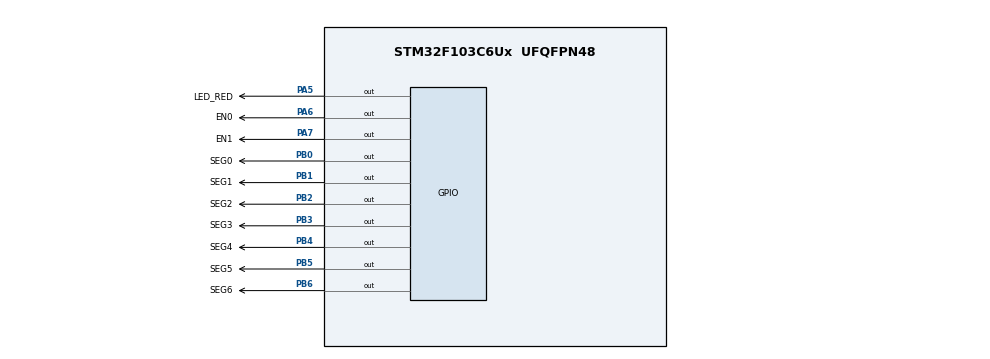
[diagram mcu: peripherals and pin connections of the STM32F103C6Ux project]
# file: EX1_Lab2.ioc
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Mcu.Family=STM32F1
Mcu.Name=STM32F103C6Ux
Mcu.Package=UFQFPN48
NVIC.PriorityGroup=NVIC_PRIORITYGROUP_4
NVIC.TIM2_IRQn=true\:0\:0\:false\:false\:true\:true\:true
PA5.GPIO_Label=LED_RED
PA5.Signal=GPIO_Output
PA6.GPIO_Label=EN0
PA6.Signal=GPIO_Output
PA7.GPIO_Label=EN1
PA7.Signal=GPIO_Output
PB0.GPIO_Label=SEG0
PB0.Signal=GPIO_Output
PB1.GPIO_Label=SEG1
PB1.Signal=GPIO_Output
PB2.GPIO_Label=SEG2
PB2.Signal=GPIO_Output
PB3.GPIO_Label=SEG3
PB3.Signal=GPIO_Output
PB4.GPIO_Label=SEG4
PB4.Signal=GPIO_Output
PB5.GPIO_Label=SEG5
PB5.Signal=GPIO_Output
PB6.GPIO_Label=SEG6
PB6.Signal=GPIO_Output
ProjectManager.HeapSize=0x200
ProjectManager.StackSize=0x400
ProjectManager.TargetToolchain=STM32CubeIDE
RCC.APB1Freq_Value=8000000
RCC.APB2Freq_Value=8000000
TIM2.Period=9
TIM2.Prescaler=7999
VP_SYS_VS_ND.Mode=No_Debug
VP_TIM2_VS_ClockSourceINT.Mode=Internal
board=custom

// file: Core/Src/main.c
/* USER CODE BEGIN Header */
/**
  ******************************************************************************
  * @file           : main.c
  * @brief          : Main program body
  ******************************************************************************
  * @attention
  *
  * <h2><center>&copy; Copyright (c) 2026 STMicroelectronics.
  * All rights reserved.</center></h2>
  *
  * This software component is licensed by ST under BSD 3-Clause license,
  * the "License"; You may not use this file except in compliance with the
  * License. You may obtain a copy of the License at:
  *                        opensource.org/licenses/BSD-3-Clause
  *
  ******************************************************************************
  */
/* USER CODE END Header */
#include "main.h"

TIM_HandleTypeDef htim2;

void SystemClock_Config(void);
static void MX_TIM2_Init(void);
static void MX_GPIO_Init(void);

/* USER CODE BEGIN 0 */
int led_counter = 50;
int led_status = 1;
/* USER CODE END 0 */

int main(void)
{

  /* MCU Configuration--------------------------------------------------------*/

  /* Reset of all peripherals, Initializes the Flash interface and the Systick. */
  HAL_Init();

  /* Configure the system clock */
  SystemClock_Config();

  /* Initialize all configured peripherals */
  MX_TIM2_Init();
  MX_GPIO_Init();
  /* USER CODE BEGIN 2 */
  HAL_TIM_Base_Start_IT(&htim2);
  /* USER CODE END 2 */

  /* Infinite loop */
  while (1)
  {

  }
}

void SystemClock_Config(void)
{
  RCC_OscInitTypeDef RCC_OscInitStruct = {0};
  RCC_ClkInitTypeDef RCC_ClkInitStruct = {0};

  /** Initializes the RCC Oscillators according to the specified parameters
  * in the RCC_OscInitTypeDef structure.
  */
  RCC_OscInitStruct.OscillatorType = RCC_OSCILLATORTYPE_HSI;
  RCC_OscInitStruct.HSIState = RCC_HSI_ON;
  RCC_OscInitStruct.HSICalibrationValue = RCC_HSICALIBRATION_DEFAULT;
  RCC_OscInitStruct.PLL.PLLState = RCC_PLL_NONE;
  if (HAL_RCC_OscConfig(&RCC_OscInitStruct) != HAL_OK)
  {
    Error_Handler();
  }
  /** Initializes the CPU, AHB and APB buses clocks
  */
  RCC_ClkInitStruct.ClockType = RCC_CLOCKTYPE_HCLK|RCC_CLOCKTYPE_SYSCLK
                              |RCC_CLOCKTYPE_PCLK1|RCC_CLOCKTYPE_PCLK2;
  RCC_ClkInitStruct.SYSCLKSource = RCC_SYSCLKSOURCE_HSI;
  RCC_ClkInitStruct.AHBCLKDivider = RCC_SYSCLK_DIV1;
  RCC_ClkInitStruct.APB1CLKDivider = RCC_HCLK_DIV1;
  RCC_ClkInitStruct.APB2CLKDivider = RCC_HCLK_DIV1;

  if (HAL_RCC_ClockConfig(&RCC_ClkInitStruct, FLASH_LATENCY_0) != HAL_OK)
  {
    Error_Handler();
  }
}

static void MX_TIM2_Init(void)
{

  TIM_ClockConfigTypeDef sClockSourceConfig = {0};
  TIM_MasterConfigTypeDef sMasterConfig = {0};

  htim2.Instance = TIM2;
  htim2.Init.Prescaler = 7999;
  htim2.Init.CounterMode = TIM_COUNTERMODE_UP;
  htim2.Init.Period = 9;
  htim2.Init.ClockDivision = TIM_CLOCKDIVISION_DIV1;
  htim2.Init.AutoReloadPreload = TIM_AUTORELOAD_PRELOAD_DISABLE;
  if (HAL_TIM_Base_Init(&htim2) != HAL_OK)
  {
    Error_Handler();
  }
  sClockSourceConfig.ClockSource = TIM_CLOCKSOURCE_INTERNAL;
  if (HAL_TIM_ConfigClockSource(&htim2, &sClockSourceConfig) != HAL_OK)
  {
    Error_Handler();
  }
  sMasterConfig.MasterOutputTrigger = TIM_TRGO_RESET;
  sMasterConfig.MasterSlaveMode = TIM_MASTERSLAVEMODE_DISABLE;
  if (HAL_TIMEx_MasterConfigSynchronization(&htim2, &sMasterConfig) != HAL_OK)
  {
    Error_Handler();
  }

}

static void MX_GPIO_Init(void)
{
  GPIO_InitTypeDef GPIO_InitStruct = {0};

  /* GPIO Ports Clock Enable */
  __HAL_RCC_GPIOA_CLK_ENABLE();
  __HAL_RCC_GPIOB_CLK_ENABLE();

  /*Configure GPIO pin Output Level */
  HAL_GPIO_WritePin(GPIOA, LED_RED_Pin|EN0_Pin|EN1_Pin, GPIO_PIN_RESET);

  /*Configure GPIO pin Output Level */
  HAL_GPIO_WritePin(GPIOB, SEG0_Pin|SEG1_Pin|SEG2_Pin|SEG3_Pin
                          |SEG4_Pin|SEG5_Pin|SEG6_Pin, GPIO_PIN_RESET);

  /*Configure GPIO pins : LED_RED_Pin EN0_Pin EN1_Pin */
  GPIO_InitStruct.Pin = LED_RED_Pin|EN0_Pin|EN1_Pin;
  GPIO_InitStruct.Mode = GPIO_MODE_OUTPUT_PP;
  GPIO_InitStruct.Pull = GPIO_NOPULL;
  GPIO_InitStruct.Speed = GPIO_SPEED_FREQ_LOW;
  HAL_GPIO_Init(GPIOA, &GPIO_InitStruct);

  /*Configure GPIO pins : SEG0_Pin SEG1_Pin SEG2_Pin SEG3_Pin
                           SEG4_Pin SEG5_Pin SEG6_Pin */
  GPIO_InitStruct.Pin = SEG0_Pin|SEG1_Pin|SEG2_Pin|SEG3_Pin
                          |SEG4_Pin|SEG5_Pin|SEG6_Pin;
  GPIO_InitStruct.Mode = GPIO_MODE_OUTPUT_PP;
  GPIO_InitStruct.Pull = GPIO_NOPULL;
  GPIO_InitStruct.Speed = GPIO_SPEED_FREQ_LOW;
  HAL_GPIO_Init(GPIOB, &GPIO_InitStruct);

}

/* USER CODE BEGIN 4 */
void display7SEG(int num){
	uint8_t seg7[10]={0xC0,0xF9,0xA4,0xB0,0x99,0x92,0x82,0xF8,0x80,0x90};
	if(num<0||num>9) return;
	uint8_t temp = seg7[num];
	HAL_GPIO_WritePin(GPIOB, SEG0_Pin, (temp >> 0) & 1);
	HAL_GPIO_WritePin(GPIOB, SEG1_Pin, (temp >> 1) & 1);
	HAL_GPIO_WritePin(GPIOB, SEG2_Pin, (temp >> 2) & 1);
	HAL_GPIO_WritePin(GPIOB, SEG3_Pin, (temp >> 3) & 1);
	HAL_GPIO_WritePin(GPIOB, SEG4_Pin, (temp >> 4) & 1);
	HAL_GPIO_WritePin(GPIOB, SEG5_Pin, (temp >> 5) & 1);
	HAL_GPIO_WritePin(GPIOB, SEG6_Pin, (temp >> 6) & 1);
}
void HAL_TIM_PeriodElapsedCallback(TIM_HandleTypeDef *htim)
{
	if (htim->Instance == TIM2) {
        led_counter--;

        if (led_counter <= 0) {
            led_counter = 50;
            if (led_status == 0) {
                led_status = 1;
            }
            else {
                led_status = 0;
            }

            if (led_status == 0) {
                HAL_GPIO_WritePin(GPIOA, EN1_Pin, GPIO_PIN_SET);
                display7SEG(1);
                HAL_GPIO_WritePin(GPIOA, EN0_Pin, GPIO_PIN_RESET);
            }
            else if (led_status == 1) {
                HAL_GPIO_WritePin(GPIOA, EN0_Pin, GPIO_PIN_SET);
                display7SEG(2);
                HAL_GPIO_WritePin(GPIOA, EN1_Pin, GPIO_PIN_RESET);
            }
        }
    }
}
/* USER CODE END 4 */

void Error_Handler(void)
{
  __disable_irq();
  while (1)
  {
  }
}

/************************ (C) COPYRIGHT STMicroelectronics *****END OF FILE****/
